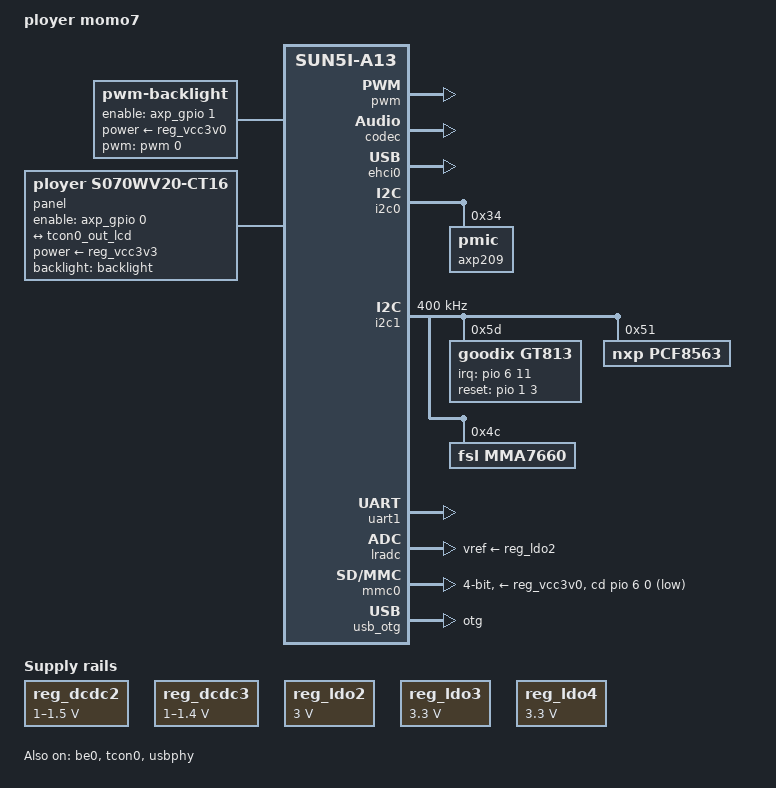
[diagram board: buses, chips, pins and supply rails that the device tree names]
/*
 * Copyright 2026 geekchun <geekchun@163.com>
 *
 * This file is dual-licensed: you can use it either under the terms
 * of the GPL or the X11 license, at your option. Note that this dual
 * licensing only applies to this file, and not this project as a
 * whole.
 *
 *  a) This file is free software; you can redistribute it and/or
 *     modify it under the terms of the GNU General Public License as
 *     published by the Free Software Foundation; either version 2 of the
 *     License, or (at your option) any later version.
 *
 *     This file is distributed in the hope that it will be useful,
 *     but WITHOUT ANY WARRANTY; without even the implied warranty of
 *     MERCHANTABILITY or FITNESS FOR A PARTICULAR PURPOSE.  See the
 *     GNU General Public License for more details.
 *
 * Or, alternatively,
 *
 *  b) Permission is hereby granted, free of charge, to any person
 *     obtaining a copy of this software and associated documentation
 *     files (the "Software"), to deal in the Software without
 *     restriction, including without limitation the rights to use,
 *     copy, modify, merge, publish, distribute, sublicense, and/or
 *     sell copies of the Software, and to permit persons to whom the
 *     Software is furnished to do so, subject to the following
 *     conditions:
 *
 *     The above copyright notice and this permission notice shall be
 *     included in all copies or substantial portions of the Software.
 *
 *     THE SOFTWARE IS PROVIDED "AS IS", WITHOUT WARRANTY OF ANY KIND,
 *     EXPRESS OR IMPLIED, INCLUDING BUT NOT LIMITED TO THE WARRANTIES
 *     OF MERCHANTABILITY, FITNESS FOR A PARTICULAR PURPOSE AND
 *     NONINFRINGEMENT. IN NO EVENT SHALL THE AUTHORS OR COPYRIGHT
 *     HOLDERS BE LIABLE FOR ANY CLAIM, DAMAGES OR OTHER LIABILITY,
 *     WHETHER IN AN ACTION OF CONTRACT, TORT OR OTHERWISE, ARISING
 *     FROM, OUT OF OR IN CONNECTION WITH THE SOFTWARE OR THE USE OR
 *     OTHER DEALINGS IN THE SOFTWARE.
 */

/dts-v1/;
#include "sun5i-a13.dtsi"
#include "sunxi-common-regulators.dtsi"

#include <dt-bindings/gpio/gpio.h>
#include <dt-bindings/input/input.h>
#include <dt-bindings/interrupt-controller/irq.h>
#include <dt-bindings/pwm/pwm.h>

/ {
	model = "ployer momo7";
	compatible = "allwinner,ployer-momo7", "allwinner,sun5i-a13";

	aliases {
		serial0 = &uart1;
	};

	chosen {
		stdout-path = "serial0:115200n8";
	};

	backlight: backlight {
		compatible = "pwm-backlight";
		pwms = <&pwm 0 50000 PWM_POLARITY_INVERTED>;
		brightness-levels = <0 10 20 30 40 50 60 70 80 90 100>;
		default-brightness-level = <8>;
		enable-gpios = <&axp_gpio 1 GPIO_ACTIVE_HIGH>; /* AXP GPIO1 */
		power-supply = <&reg_vcc3v0>;
	};

	panel: panel {
		compatible = "ployer,s070wv20-ct16";
		power-supply = <&reg_vcc3v3>;
		enable-gpios = <&axp_gpio 0 GPIO_ACTIVE_HIGH>; /* AXP GPIO0 */
		backlight = <&backlight>;

		port {
			panel_input: endpoint {
				remote-endpoint = <&tcon0_out_lcd>;
			};
		};
	};
};

&pwm {
	pinctrl-names = "default";
	pinctrl-0 = <&pwm0_pin>;
	status = "okay";
};

&be0 {
	status = "okay";
};

&tcon0 {
	pinctrl-names = "default";
	pinctrl-0 = <&lcd_rgb666_pins>;
	status = "okay";
};

&tcon0_out {
	tcon0_out_lcd: endpoint@0 {
		reg = <0>;
		remote-endpoint = <&panel_input>;
	};
};

&codec {
	allwinner,pa-gpios = <&pio 6 10 GPIO_ACTIVE_HIGH>; /* PG10 */
	status = "okay";
};

&cpu0 {
	cpu-supply = <&reg_dcdc2>;
};

&ehci0 {
	status = "okay";
};

&i2c0 {
	pinctrl-names = "default";
	pinctrl-0 = <&i2c0_pins>;
	status = "okay";

	axp209: pmic@34 {
		reg = <0x34>;
		interrupts = <0>;
	};
};

&i2c1 {
	pinctrl-names = "default";
	pinctrl-0 = <&i2c1_pins>;
	status = "okay";
	clock-frequency = <400000>;

	gt813: touchscreen@5d {
		compatible = "goodix,gt813";
		reg = <0x5d>;
		interrupt-parent = <&pio>;
		interrupts = <6 11 IRQ_TYPE_EDGE_FALLING>; /* EINT11 (PG11) */
		irq-gpios = <&pio 6 11 GPIO_ACTIVE_HIGH>;
		reset-gpios = <&pio 1 3 GPIO_ACTIVE_HIGH>; /* PB3 */
		/* Tablet dts must provide reg and compatible */
		status = "okay";
	};

	pcf8563: rtc@51 {
		compatible = "nxp,pcf8563";
		reg = <0x51>;
	};

	mma7660: accelerometer@4c {
		reg = <0x4c>;
		compatible = "fsl,mma7660";
	};
};
&uart1 {
	pinctrl-names = "default";
	pinctrl-0 = <&uart1_pg_pins>;
	status = "okay";
};

#include "axp209.dtsi"

&ac_power_supply {
	status = "okay";
};

&battery_power_supply {
	status = "okay";
};

&usb_power_supply {
	status = "okay";
};

&lradc {
	vref-supply = <&reg_ldo2>;
	status = "okay";

	button-200 {
		label = "Volume Up";
		linux,code = <KEY_VOLUMEUP>;
		channel = <0>;
		voltage = <200000>;
	};

	button-400 {
		label = "Volume Down";
		linux,code = <KEY_VOLUMEDOWN>;
		channel = <0>;
		voltage = <400000>;
	};
};

&mmc0 {
	pinctrl-names = "default";
	pinctrl-0 = <&mmc0_pins>;
	vmmc-supply = <&reg_vcc3v0>;
	bus-width = <4>;
	cd-gpios = <&pio 6 0 GPIO_ACTIVE_LOW>; /* PG0 */
	status = "okay";
};

&reg_dcdc2 {
	regulator-always-on;
	regulator-min-microvolt = <1000000>;
	regulator-max-microvolt = <1500000>;
	regulator-name = "vdd-cpu";
};

&reg_dcdc3 {
	regulator-always-on;
	regulator-min-microvolt = <1000000>;
	regulator-max-microvolt = <1400000>;
	regulator-name = "vdd-int-pll";
};

&reg_ldo1 {
	regulator-name = "vdd-rtc";
};

&reg_ldo2 {
	regulator-always-on;
	regulator-min-microvolt = <3000000>;
	regulator-max-microvolt = <3000000>;
	regulator-name = "avcc";
};

&reg_ldo3 {
	regulator-always-on;
	regulator-min-microvolt = <3300000>;
	regulator-max-microvolt = <3300000>;
	regulator-name = "vcc-wifi";
};

&reg_ldo4 {
	regulator-always-on;
	regulator-min-microvolt = <3300000>;
	regulator-max-microvolt = <3300000>;
	regulator-name = "vcc-dumm";
};

&reg_usb0_vbus {
	gpio = <&pio 6 12 GPIO_ACTIVE_HIGH>; /* PG12 */
	status = "okay";
};

&otg_sram {
	status = "okay";
};

&usb_otg {
	dr_mode = "otg";
	status = "okay";
};

&usb_power_supply {
	status = "okay";
};

&usbphy {
	usb0_id_det-gpios = <&pio 6 2 (GPIO_ACTIVE_HIGH | GPIO_PULL_UP)>; /* PG2 */
	usb0_vbus_det-gpios = <&pio 6 1 (GPIO_ACTIVE_HIGH | GPIO_PULL_DOWN)>; /* PG1 */
	usb0_vbus_power-supply = <&usb_power_supply>;
	usb0_vbus-supply = <&reg_usb0_vbus>;
	usb1_vbus-supply = <&reg_ldo3>;
	status = "okay";
};
